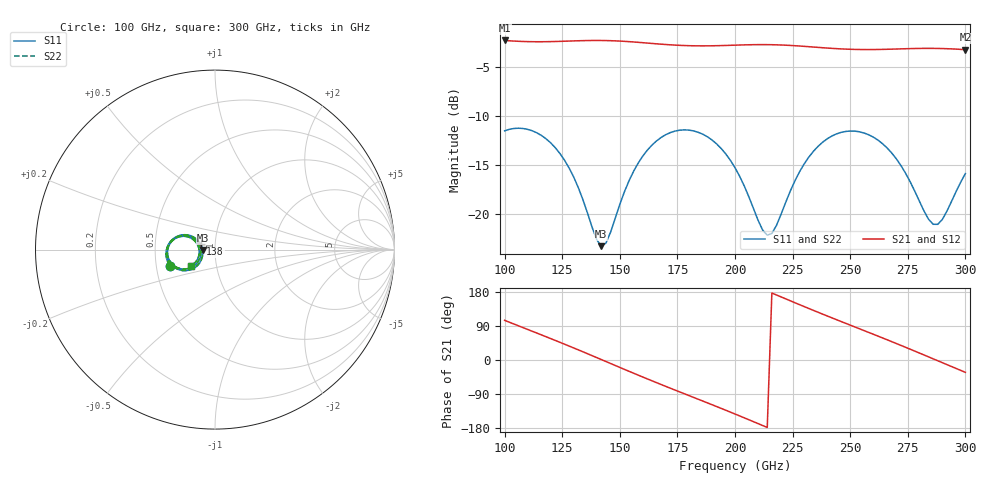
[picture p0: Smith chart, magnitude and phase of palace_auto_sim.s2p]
#  GHZ S DB R 50
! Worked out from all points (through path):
!   101 points, 100 GHz to 300 GHz, reference 50 ohm
!   highest |S21| = -2.27 dB at 100 GHz (marker M1); lowest = -3.2 dB at 300 GHz (marker M2)
!   group delay of S21, straight-line fit = 6.91 ps
!   lowest |S11| = -23.3 dB at 142 GHz (marker M3), VSWR 1.15, Z = 43.6 - j0.328 ohm
!   |S11| at or under -10 dB: start of sweep to end of sweep
!   |S22| runs from -23.2 to -11.2 dB; largest |S21 - S12| = 1.3e-13
!   S11 on the Smith chart (normalised r, x): 100 GHz: 0.59, -0.11; 138 GHz: 0.85, +0.05; 300 GHz: 0.75, -0.14
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100  -11.49 -160.5  -2.27 104.7  -2.27 104.7  -11.49 -160.3
116  -11.97 169.4  -2.40 66.2  -2.40 66.2  -11.96 169.7
126  -14.49 153.8  -2.35 41.7  -2.35 41.7  -14.48 154.2
134  -18.53 150.1  -2.29 21.6  -2.29 21.6  -18.49 150.7
138  -21.35 158.9  -2.28 11.4  -2.28 11.4  -21.28 159.4
142  -23.27 -176.9  -2.28 1.1  -2.28 1.1  -23.16 -176.6
146  -21.84 -150.3  -2.30 -9.2  -2.30 -9.2  -21.76 -150.4
154  -16.59 -138.0  -2.39 -29.8  -2.39 -29.8  -16.57 -138.1
168  -12.16 -156.2  -2.65 -64.8  -2.65 -64.8  -12.15 -156.1
184  -11.64 175.8  -2.82 -103.5  -2.82 -103.5  -11.63 176.0
200  -15.26 153.1  -2.75 -142.5  -2.75 -142.5  -15.22 153.7
214  -22.15 -178.1  -2.70 -178.1  -2.70 -178.1  -21.96 -178.0
218  -21.15 -155.5  -2.72 171.6  -2.72 171.6  -21.00 -156.0
224  -17.65 -142.3  -2.78 156.3  -2.78 156.3  -17.58 -142.8
234  -13.60 -148.7  -2.94 131.1  -2.94 131.1  -13.58 -149.0
250  -11.52 -173.7  -3.17 92.1  -3.17 92.1  -11.51 -173.9
258  -11.90 173.2  -3.20 72.8  -3.20 72.8  -11.89 173.1
268  -13.75 159.2  -3.16 48.5  -3.16 48.5  -13.75 159.1
278  -17.64 155.5  -3.09 23.5  -3.09 23.5  -17.64 155.5
286  -21.03 179.1  -3.08 3.2  -3.08 3.2  -21.03 179.0
290  -20.54 -161.6  -3.10 -7.1  -3.10 -7.1  -20.54 -161.6
300  -15.85 -146.1  -3.21 -32.5  -3.21 -32.5  -15.85 -146.1
